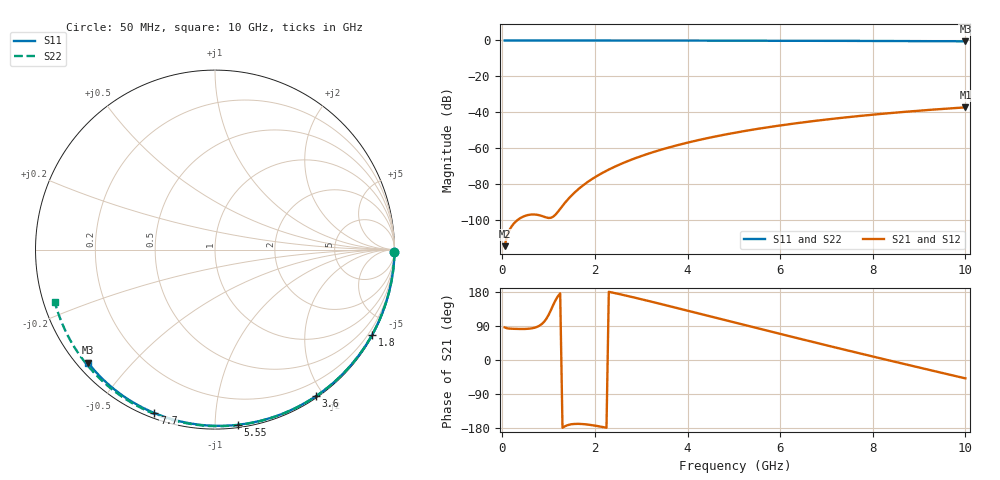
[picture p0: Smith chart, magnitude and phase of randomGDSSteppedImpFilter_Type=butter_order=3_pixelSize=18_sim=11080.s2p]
! freq	dB(S11)	phase(S11)	dB(S12)	phase(S12)
!  dB(S21)	phase(S21)	dB(S22)	phase(S22)
!S-par simulation data
#  GHz  S  DB  R 50
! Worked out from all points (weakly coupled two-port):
!   200 points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, 50 MHz to 10 GHz, reference 50 ohm
!   highest |S21| = -37.16 dB at 10 GHz (marker M1); lowest = -114.3 dB at 50 MHz (marker M2)
!   lowest |S11| = -0.5 dB at 10 GHz (marker M3), VSWR 37.07, Z = 1.54 - j19 ohm
!   |S11| at or under -10 dB: nowhere
!   |S22| runs from -0.5 to 0.0 dB; largest |S21 - S12| = 0
!   S11 on the Smith chart (normalised r, x): 50 MHz: open; 1.8 GHz: 0.03, -3.96; 3.6 GHz: 0.02, -1.90; 5.55 GHz: 0.02, -1.14; 7.7 GHz: 0.02, -0.70; 10 GHz: 0.03, -0.38
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0.05  -0.00 -0.8  -114.26 86.1  -114.26 86.1  -0.00 -0.9
0.45  -0.01 -7.2  -97.85 81.8  -97.85 81.8  -0.01 -8.3
0.9  -0.02 -14.3  -97.89 100.4  -97.89 100.4  -0.02 -16.5
1.3  -0.03 -20.6  -91.86 -178.8  -91.86 -178.8  -0.03 -23.7
1.75  -0.04 -27.6  -80.36 -169.2  -80.36 -169.2  -0.04 -31.7
1.8  -0.04 -28.4  -79.41 -169.8  -79.41 -169.8  -0.04 -32.6
1.95  -0.04 -30.7  -76.78 -172.2  -76.78 -172.2  -0.04 -35.3
2.1  -0.04 -33.0  -74.45 -175.3  -74.45 -175.3  -0.05 -37.9
2.3  -0.05 -36.0  -71.71 179.9  -71.71 179.9  -0.05 -41.4
2.5  -0.05 -39.1  -69.29 174.7  -69.29 174.7  -0.06 -44.9
2.9  -0.06 -45.1  -65.14 163.4  -65.14 163.4  -0.07 -51.8
3.4  -0.07 -52.5  -60.90 148.5  -60.90 148.5  -0.08 -60.3
3.6  -0.07 -55.4  -59.42 142.5  -59.42 142.5  -0.09 -63.6
4.3  -0.09 -65.4  -54.97 121.0  -54.97 121.0  -0.11 -75.1
5.05  -0.12 -75.9  -51.13 97.9  -51.13 97.9  -0.13 -87.0
5.55  -0.14 -82.6  -48.96 82.6  -48.96 82.6  -0.16 -94.8
6.1  -0.16 -89.9  -46.85 65.9  -46.85 65.9  -0.18 -103.2
6.7  -0.19 -97.7  -44.83 47.8  -44.83 47.8  -0.22 -112.3
7.7  -0.25 -110.3  -41.98 18.0  -41.98 18.0  -0.29 -127.1
8.35  -0.30 -118.3  -40.40 -1.0  -40.40 -1.0  -0.35 -136.7
9.2  -0.38 -128.6  -38.61 -25.6  -38.61 -25.6  -0.44 -149.5
10  -0.47 -138.3  -37.16 -48.5  -37.16 -48.5  -0.55 -161.8
